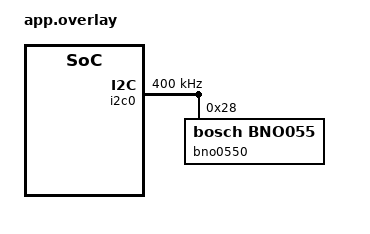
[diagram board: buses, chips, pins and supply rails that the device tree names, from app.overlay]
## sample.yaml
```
# This file is provided so that the application can be compiled using Twister,
# the Zephyr testing tool. In this file, multiple combinations can be specified,
# so that you can easily test all of them locally or in CI.
sample:
  description: Firmware for 3d tracking device
  name: track-rat-app 
common:
  build_only: true
  integration_platforms:
    - promicro
tests:
  app.default: {}
  app.debug:
    extra_overlay_confs:
      - debug.conf
```

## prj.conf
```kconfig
# Copyright (c) 2021 Nordic Semiconductor ASA
# SPDX-License-Identifier: Apache-2.0
#
# This file contains selected Kconfig options for the application.

CONFIG_GPIO=y

CONFIG_SERIAL=y
CONFIG_CONSOLE=y
CONFIG_UART_CONSOLE=y
CONFIG_STDOUT_CONSOLE=y
CONFIG_UART_LINE_CTRL=y

CONFIG_USB_DEVICE_STACK_NEXT=y
CONFIG_CDC_ACM_SERIAL_INITIALIZE_AT_BOOT=y
CONFIG_CDC_ACM_SERIAL_PID=0x0004
CONFIG_CDC_ACM_SERIAL_PRODUCT_STRING="USBD console sample"

CONFIG_LOG=y

CONFIG_I2C=y
CONFIG_SENSOR=y
CONFIG_BNO055=y


#CONFIG_SENSOR_LOG_LEVEL_DBG=y

# CONFIG_BT=y
# CONFIG_LOG=y
# CONFIG_BT_SMP=y
# CONFIG_BT_PERIPHERAL=y
# CONFIG_BT_DIS=y
# CONFIG_BT_ATT_PREPARE_COUNT=5
# CONFIG_BT_BAS=y
# CONFIG_BT_HRS=y
# CONFIG_BT_IAS=y
# CONFIG_BT_CTS=y
# CONFIG_BT_CTS_HELPER_API=y
# CONFIG_BT_PRIVACY=y
# CONFIG_BT_DEVICE_NAME="Zephyr Peripheral Sample Long Name"
# CONFIG_BT_DEVICE_APPEARANCE=833
# CONFIG_BT_DEVICE_NAME_DYNAMIC=y
# CONFIG_BT_DEVICE_NAME_MAX=65

# CONFIG_BT_KEYS_OVERWRITE_OLDEST=y
# CONFIG_BT_SETTINGS=y
# CONFIG_FLASH=y
# CONFIG_FLASH_MAP=y
# CONFIG_NVS=y
# CONFIG_SETTINGS=y

CONFIG_BT=y
CONFIG_BT_PERIPHERAL=y
CONFIG_BT_DEVICE_NAME="Zephyr Sample"

# CONFIG_BT_DIS=y
# CONFIG_BT_ATT_PREPARE_COUNT=5

# CONFIG_BT_SMP=y
# CONFIG_BT_PRIVACY=y
# CONFIG_BT_DEVICE_NAME_DYNAMIC=y
# CONFIG_BT_DEVICE_NAME_MAX=65
# CONFIG_BT_DEVICE_NAME="Zephyr Sample"
# CONFIG_BT_DEVICE_APPEARANCE=833
# CONFIG_BT_CTS=y
# CONFIG_BT_CTS_HELPER_API=y
# CONFIG_BT_IAS=y
# CONFIG_BT_BAS=y
```

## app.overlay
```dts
/ {
    chosen {
        zephyr,console = &cdc_acm_uart;
    };
};

// &i2c0 {
// 	status = "okay";
// 	clock-frequency = <I2C_BITRATE_FAST>;
// 	bno055_l: bno055@28 {
// 		compatible = "bosch,bno055";
// 		reg = <0x28>;
// 		status = "okay";
// 	};
// };

&i2c0 {
	status = "okay";
	clock-frequency = <I2C_BITRATE_FAST>;

	bno0550: bno055@28 {
		compatible = "bosch,bno055";
		reg = <0x28>;
		//irq-gpios = <&sixtron_connector WKUP (GPIO_ACTIVE_HIGH | GPIO_PULL_DOWN)>;
		//use_xtal;
		//zephyr,deferred-init;
	};
};
```

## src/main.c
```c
/*
 * Copyright (c) 2021 Nordic Semiconductor ASA
 * SPDX-License-Identifier: Apache-2.0
 */

#include <zephyr/kernel.h>
#include <zephyr/drivers/gpio.h>

#include <zephyr/logging/log.h>
#include <zephyr/sys/printk.h>
#include <zephyr/drivers/uart.h>

#include <app_version.h>

#include <zephyr/drivers/sensor.h>
#include <zephyr/device.h>
#include <zephyr/devicetree.h>

#include <zephyr/bluetooth/bluetooth.h>
#include <zephyr/bluetooth/gatt.h>
#include <zephyr/bluetooth/uuid.h>

LOG_MODULE_REGISTER(main, CONFIG_APP_LOG_LEVEL);

/* 1000 msec = 1 sec */
#define SLEEP_TIME_MS   2000
/* The devicetree node identifier for the "led0" alias. */
#define LED0_NODE DT_ALIAS(led0)

struct sensor_value gyr[3];

static const struct gpio_dt_spec led = GPIO_DT_SPEC_GET(LED0_NODE, gpios);

static uint8_t led_state = false;

// Service and Characteristics UUIDs
static struct bt_uuid_128 led_state_char_uuid = BT_UUID_INIT_128(
    BT_UUID_128_ENCODE(0x9c85a726, 0xb7f1, 0x11ec, 0xb909, 0x0242ac120002));

static const struct bt_uuid_128 vnd_long_uuid = BT_UUID_INIT_128(
	BT_UUID_128_ENCODE(0x12345678, 0x1234, 0x5678, 0x1234, 0x56789abcdef3));

#define LED_SERVICE_UUID_VAL \
  BT_UUID_128_ENCODE(0xf7547938, 0x68ba, 0x11ec, 0x90d6, 0x0242ac120003)

static struct bt_uuid_128 led_svc_uuid = BT_UUID_INIT_128(LED_SERVICE_UUID_VAL);


// Advertisement Data

static const struct bt_data ad[] = {
    BT_DATA_BYTES(BT_DATA_FLAGS, (BT_LE_AD_GENERAL | BT_LE_AD_NO_BREDR)),
    BT_DATA_BYTES(BT_DATA_UUID128_ALL, LED_SERVICE_UUID_VAL),
};


// GAP callbacks

static void connected(struct bt_conn *conn, uint8_t err) {
  if (err) {
    printk("Connection failed (err 0x%02x)\n", err);
  } else {
    printk("Connected\n");
  }
}

static void disconnected(struct bt_conn *conn, uint8_t reason) {
  printk("Disconnected (reason 0x%02x)\n", reason);
}

BT_CONN_CB_DEFINE(conn_callbacks) = {
    .connected = connected,
    .disconnected = disconnected,
};

// GATT Access Callbacks

static ssize_t read_led_state(struct bt_conn *conn,
                              const struct bt_gatt_attr *attr, void *buf,
                              uint16_t len, uint16_t offset) {
  const uint8_t *value = attr->user_data;
  printk("Value 0x%x read.\n", *value);
  return bt_gatt_attr_read(conn, attr, buf, len, offset, value, sizeof(*value));
}

static ssize_t write_led_state(struct bt_conn *conn,
                               const struct bt_gatt_attr *attr, const void *buf,
                               uint16_t len, uint16_t offset, uint8_t flags) {
  uint8_t *value = attr->user_data;
  *value = *((uint8_t *)buf);
  printk("Value 0x%x written.\n", *value);

  printk("Current LED state %s - turning LED %s\n", led_state ? "off" : "on",
         led_state ? "on" : "off");
  gpio_pin_set_dt(&led, led_state);
  return len;
}

#define VND_LONG_MAX_LEN 36
static uint8_t vnd_long_value[VND_LONG_MAX_LEN + 1] = {
		  'V', 'e', 'n', 'd', 'o', 'r', ' ', 'd', 'a', 't', 'a', '1',
		  'V', 'e', 'n', 'd', 'o', 'r', ' ', 'd', 'a', 't', 'a', '2',
		  'V', 'e', 'n', 'd', 'o', 'r', ' ', 'd', 'a', 't', 'a', '3',
			};

static ssize_t write_long_vnd(struct bt_conn *conn,
		const struct bt_gatt_attr *attr, const void *buf,
		uint16_t len, uint16_t offset, uint8_t flags)
{
	uint8_t *value = attr->user_data;

	if (flags & BT_GATT_WRITE_FLAG_PREPARE) {
		return 0;
	}

	if (offset + len > VND_LONG_MAX_LEN) {
		return BT_GATT_ERR(BT_ATT_ERR_INVALID_OFFSET);
	}

	memcpy(value + offset, buf, len);
	value[offset + len] = 0;

	return len;
}

// Attribute Table

BT_GATT_SERVICE_DEFINE(
    led_svc, BT_GATT_PRIMARY_SERVICE(&led_svc_uuid),
    BT_GATT_CHARACTERISTIC(&led_state_char_uuid.uuid,
                           BT_GATT_CHRC_READ | BT_GATT_CHRC_WRITE,
                           BT_GATT_PERM_READ | BT_GATT_PERM_WRITE,
                           read_led_state, write_led_state, &led_state), 


	BT_GATT_CHARACTERISTIC(&vnd_long_uuid.uuid, BT_GATT_CHRC_READ |
							BT_GATT_CHRC_WRITE | BT_GATT_CHRC_EXT_PROP,
							BT_GATT_PERM_READ | BT_GATT_PERM_WRITE |
							BT_GATT_PERM_PREPARE_WRITE,
							read_led_state, write_long_vnd, &vnd_long_value),
	);



static void read_gyro_data(const struct device * gyro_dev)
{
	sensor_sample_fetch(gyro_dev);
	sensor_channel_get(gyro_dev, SENSOR_CHAN_GYRO_XYZ, gyr);
}

static void display_gyro_data(void)
{

	printk("pitch %d roll %d \n", gyr[1].val1 , gyr[2].val1);
	printk("heading %d \n", gyr[0].val1);
}

int main(void)
{
	int ret;
	//bool led_state = true;
	uint32_t dtr = 0;

	
	printk("Track Rat Application %s\n", APP_VERSION_STRING);
	if (!gpio_is_ready_dt(&led)) {
		return 0;
	}

	ret = gpio_pin_configure_dt(&led, GPIO_OUTPUT_ACTIVE);
	if (ret < 0) {
		return 0;
	}

	// Initialize USB device
	const struct device *const dev = DEVICE_DT_GET(DT_CHOSEN(zephyr_console));
	k_msleep(5000);
	const struct device *gyro_dev = DEVICE_DT_GET(DT_NODELABEL(bno055_l));
	if (!device_is_ready(gyro_dev)) {
		printk("Device %s is not ready\n", gyro_dev->name);
		return 0;
	}


	gpio_pin_set_dt(&led, led_state);
	// initialize BLE
	ret = bt_enable(NULL);
	if (ret) {
		printk("Bluetooth init failed (err %d)\n", ret);
		return;
	}
	printk("Bluetooth initialized\n");

	// start avertising
	ret = bt_le_adv_start(BT_LE_ADV_CONN_NAME, ad, ARRAY_SIZE(ad), NULL, 0);
	if (ret) {
		printk("Advertising failed to start (err %d)\n", ret);
		return;
	}
	printk("Advertising successfully started\n");




	printk("Device %s ready,starting aquisition!\n", gyro_dev->name);
	while (1) {
		// ret = gpio_pin_toggle_dt(&led);
		// if (ret < 0) {
		// 	return 0;
		// }
		//LOG_INF("Logging to usb!\n");
		//led_state = !led_state;
		printk("LED state: %s\n", led_state ? "ON" : "OFF");
		k_msleep(SLEEP_TIME_MS);

		read_gyro_data(gyro_dev);
		display_gyro_data();
	}

	return 0;
}
```
